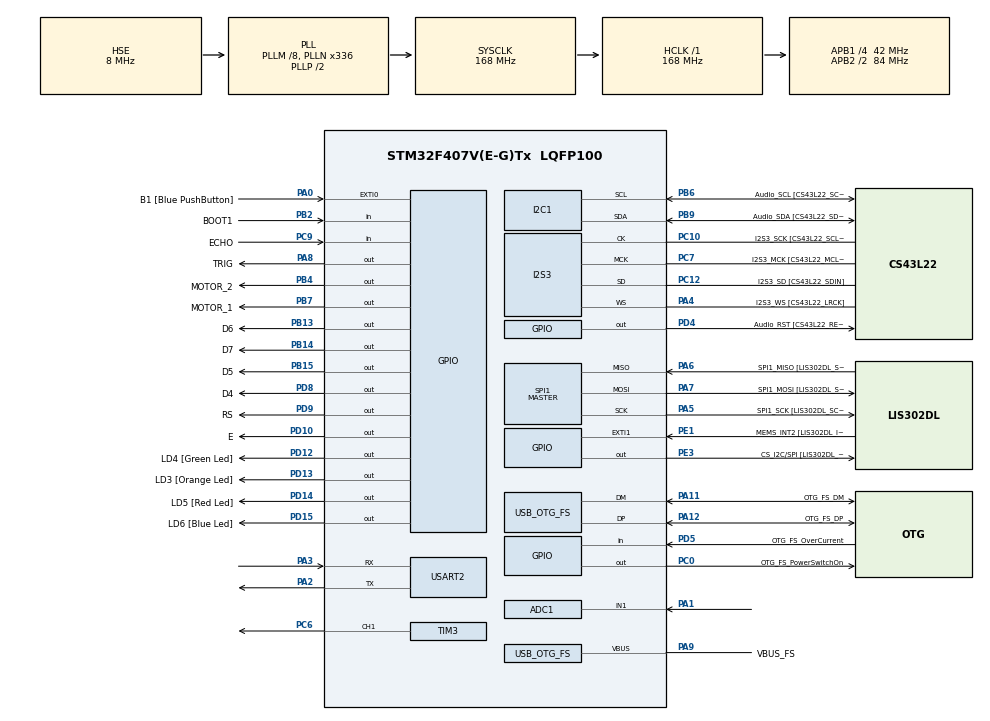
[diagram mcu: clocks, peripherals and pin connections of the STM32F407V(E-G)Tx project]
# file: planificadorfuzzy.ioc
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ADC1.Channel-0\#ChannelRegularConversion=ADC_CHANNEL_1
ADC1.ContinuousConvMode=ENABLE
ADC1.NbrOfConversionFlag=1
ADC1.Rank-0\#ChannelRegularConversion=1
ADC1.SamplingTime-0\#ChannelRegularConversion=ADC_SAMPLETIME_3CYCLES
ADC1.master=1
I2S3.AudioFreq-Half_Duplex_Master=I2S_AUDIOFREQ_96K
I2S3.ErrorAudioFreq=-2.34 %
I2S3.ErrorAudioFreq-Half_Duplex_Master=0.8 %
I2S3.FullDuplexMode=I2S_FULLDUPLEXMODE_DISABLE
I2S3.Instance=SPI$Index
I2S3.RealAudioFreq=93.75 KHz
I2S3.RealAudioFreq-Half_Duplex_Master=96.774 KHz
I2S3.VirtualMode=I2S_MODE_MASTER
Mcu.Family=STM32F4
Mcu.Name=STM32F407V(E-G)Tx
Mcu.Package=LQFP100
NVIC.OTG_FS_IRQn=true\:0\:0\:false\:false\:true\:true\:true\:true
NVIC.PriorityGroup=NVIC_PRIORITYGROUP_0
NVIC.TIM3_IRQn=true\:0\:0\:false\:false\:true\:true\:true\:true
PA0-WKUP.GPIO_Label=B1 [Blue PushButton]
PA0-WKUP.GPIO_ModeDefaultEXTI=GPIO_MODE_EVT_RISING
PA0-WKUP.GPIO_PuPd=GPIO_NOPULL
PA0-WKUP.Signal=GPXTI0
PA1.Signal=ADCx_IN1
PA10.GPIO_Label=OTG_FS_ID
PA10.GPIO_Mode=GPIO_MODE_AF_PP
PA10.GPIO_PuPd=GPIO_NOPULL
PA10.GPIO_Speed=GPIO_SPEED_FREQ_LOW
PA10.Signal=USB_OTG_FS_ID
PA11.GPIO_Label=OTG_FS_DM
PA11.GPIO_Mode=GPIO_MODE_AF_PP
PA11.GPIO_PuPd=GPIO_NOPULL
PA11.GPIO_Speed=GPIO_SPEED_FREQ_LOW
PA11.Mode=Host_Only
PA11.Signal=USB_OTG_FS_DM
PA12.GPIO_Label=OTG_FS_DP
PA12.GPIO_Mode=GPIO_MODE_AF_PP
PA12.GPIO_PuPd=GPIO_NOPULL
PA12.GPIO_Speed=GPIO_SPEED_FREQ_LOW
PA12.Mode=Host_Only
PA12.Signal=USB_OTG_FS_DP
PA13.GPIO_Label=SWDIO
PA13.Mode=Serial_Wire
PA13.Signal=SYS_JTMS-SWDIO
PA14.GPIO_Label=SWCLK
PA14.Mode=Serial_Wire
PA14.Signal=SYS_JTCK-SWCLK
PA2.Mode=Asynchronous
PA2.Signal=USART2_TX
PA3.Mode=Asynchronous
PA3.Signal=USART2_RX
PA4.GPIO_Label=I2S3_WS [CS43L22_LRCK]
PA4.GPIO_Mode=GPIO_MODE_AF_PP
PA4.GPIO_PuPd=GPIO_NOPULL
PA4.GPIO_Speed=GPIO_SPEED_FREQ_LOW
PA4.Mode=Half_Duplex_Master
PA4.Signal=I2S3_WS
PA5.GPIO_Label=SPI1_SCK [LIS302DL_SCL/SPC]
PA5.GPIO_Mode=GPIO_MODE_AF_PP
PA5.GPIO_PuPd=GPIO_NOPULL
PA5.GPIO_Speed=GPIO_SPEED_FREQ_LOW
PA5.Mode=Full_Duplex_Master
PA5.Signal=SPI1_SCK
PA6.GPIO_Label=SPI1_MISO [LIS302DL_SDO]
PA6.GPIO_Mode=GPIO_MODE_AF_PP
PA6.GPIO_PuPd=GPIO_NOPULL
PA6.GPIO_Speed=GPIO_SPEED_FREQ_LOW
PA6.Mode=Full_Duplex_Master
PA6.Signal=SPI1_MISO
PA7.GPIO_Label=SPI1_MOSI [LIS302DL_SDA/SDI/SDO]
PA7.GPIO_Mode=GPIO_MODE_AF_PP
PA7.GPIO_PuPd=GPIO_NOPULL
PA7.GPIO_Speed=GPIO_SPEED_FREQ_LOW
PA7.Mode=Full_Duplex_Master
PA7.Signal=SPI1_MOSI
PA8.GPIO_Label=TRIG
PA8.Signal=GPIO_Output
PA9.GPIO_Label=VBUS_FS
PA9.GPIO_Mode=GPIO_MODE_INPUT
PA9.GPIO_PuPd=GPIO_NOPULL
PA9.Mode=Activate_VBUS
PA9.Signal=USB_OTG_FS_VBUS
PB10.GPIO_Label=CLK_IN [MP45DT02_CLK]
PB10.GPIO_Mode=GPIO_MODE_AF_PP
PB10.GPIO_PuPd=GPIO_NOPULL
PB10.GPIO_Speed=GPIO_SPEED_FREQ_LOW
PB10.Signal=I2S2_CK
PB13.GPIO_Label=D6
PB13.Signal=GPIO_Output
PB14.GPIO_Label=D7
PB14.Signal=GPIO_Output
PB15.GPIO_Label=D5
PB15.Signal=GPIO_Output
PB2.GPIO_Label=BOOT1
PB2.GPIO_Mode=GPIO_MODE_INPUT
PB2.GPIO_PuPd=GPIO_NOPULL
PB2.Signal=GPIO_Input
PB3.GPIO_Label=SWO
PB3.Signal=SYS_JTDO-SWO
PB4.GPIO_Label=MOTOR_2
PB4.Signal=GPIO_Output
PB6.GPIO_Label=Audio_SCL [CS43L22_SCL]
PB6.GPIO_Mode=GPIO_MODE_AF_OD
PB6.GPIO_Pu=GPIO_PULLUP
PB6.GPIO_PuPd=GPIO_NOPULL
PB6.GPIO_Speed=GPIO_SPEED_FREQ_LOW
PB6.Mode=I2C
PB6.Signal=I2C1_SCL
PB7.GPIO_Label=MOTOR_1
PB7.Signal=GPIO_Output
PB9.GPIO_Label=Audio_SDA [CS43L22_SDA]
PB9.GPIO_Mode=GPIO_MODE_AF_OD
PB9.GPIO_Pu=GPIO_PULLUP
PB9.GPIO_PuPd=GPIO_NOPULL
PB9.GPIO_Speed=GPIO_SPEED_FREQ_LOW
PB9.Mode=I2C
PB9.Signal=I2C1_SDA
PC0.GPIO_Label=OTG_FS_PowerSwitchOn
PC0.GPIO_PuPd=GPIO_NOPULL
PC0.GPIO_Speed=GPIO_SPEED_FREQ_LOW
PC0.PinState=GPIO_PIN_SET
PC0.Signal=GPIO_Output
PC10.GPIO_Label=I2S3_SCK [CS43L22_SCLK]
PC10.GPIO_Mode=GPIO_MODE_AF_PP
PC10.GPIO_PuPd=GPIO_NOPULL
PC10.GPIO_Speed=GPIO_SPEED_FREQ_LOW
PC10.Mode=Half_Duplex_Master
PC10.Signal=I2S3_CK
PC12.GPIO_Label=I2S3_SD [CS43L22_SDIN]
PC12.GPIO_Mode=GPIO_MODE_AF_PP
PC12.GPIO_PuPd=GPIO_NOPULL
PC12.GPIO_Speed=GPIO_SPEED_FREQ_LOW
PC12.Mode=Half_Duplex_Master
PC12.Signal=I2S3_SD
PC14-OSC32_IN.GPIO_Label=PC14-OSC32_IN
PC14-OSC32_IN.Mode=LSE-External-Oscillator
PC14-OSC32_IN.Signal=RCC_OSC32_IN
PC15-OSC32_OUT.GPIO_Label=PC15-OSC32_OUT
PC15-OSC32_OUT.Mode=LSE-External-Oscillator
PC15-OSC32_OUT.Signal=RCC_OSC32_OUT
PC3.GPIO_Label=PDM_OUT [MP45DT02_DOUT]
PC3.GPIO_Mode=GPIO_MODE_AF_PP
PC3.GPIO_PuPd=GPIO_NOPULL
PC3.GPIO_Speed=GPIO_SPEED_FREQ_LOW
PC3.Signal=I2S2_SD
PC6.Signal=S_TIM3_CH1
PC7.GPIO_Label=I2S3_MCK [CS43L22_MCLK]
PC7.GPIO_Mode=GPIO_MODE_AF_PP
PC7.GPIO_PuPd=GPIO_NOPULL
PC7.GPIO_Speed=GPIO_SPEED_FREQ_LOW
PC7.Mode=Master_Clock_Activated
PC7.Signal=I2S3_MCK
PC9.GPIO_Label=ECHO
PC9.Signal=GPIO_Input
PD10.GPIO_Label=E
PD10.Signal=GPIO_Output
PD12.GPIO_Label=LD4 [Green Led]
PD12.GPIO_PuPd=GPIO_NOPULL
PD12.GPIO_Speed=GPIO_SPEED_FREQ_LOW
PD12.Signal=GPIO_Output
PD13.GPIO_Label=LD3 [Orange Led]
PD13.GPIO_PuPd=GPIO_NOPULL
PD13.GPIO_Speed=GPIO_SPEED_FREQ_LOW
PD13.Signal=GPIO_Output
PD14.GPIO_Label=LD5 [Red Led]
PD14.GPIO_PuPd=GPIO_NOPULL
PD14.GPIO_Speed=GPIO_SPEED_FREQ_LOW
PD14.Signal=GPIO_Output
PD15.GPIO_Label=LD6 [Blue Led]
PD15.GPIO_PuPd=GPIO_NOPULL
PD15.GPIO_Speed=GPIO_SPEED_FREQ_LOW
PD15.Signal=GPIO_Output
PD4.GPIO_Label=Audio_RST [CS43L22_RESET]
PD4.GPIO_PuPd=GPIO_NOPULL
PD4.GPIO_Speed=GPIO_SPEED_FREQ_LOW
PD4.Signal=GPIO_Output
PD5.GPIO_Label=OTG_FS_OverCurrent
PD5.GPIO_Mode=GPIO_MODE_INPUT
PD5.GPIO_PuPd=GPIO_NOPULL
PD5.Signal=GPIO_Input
PD8.GPIO_Label=D4
PD8.Signal=GPIO_Output
PD9.GPIO_Label=RS
PD9.Signal=GPIO_Output
PE1.GPIO_Label=MEMS_INT2 [LIS302DL_INT2]
PE1.GPIO_ModeDefaultEXTI=GPIO_MODE_EVT_RISING
PE1.GPIO_PuPd=GPIO_NOPULL
PE1.Signal=GPXTI1
PE3.GPIO_Label=CS_I2C/SPI [LIS302DL_CS_I2C/SPI]
PE3.GPIO_PuPd=GPIO_NOPULL
PE3.GPIO_Speed=GPIO_SPEED_FREQ_LOW
PE3.Signal=GPIO_Output
PH0-OSC_IN.GPIO_Label=PH0-OSC_IN
PH0-OSC_IN.Mode=HSE-External-Oscillator
PH0-OSC_IN.Signal=RCC_OSC_IN
PH1-OSC_OUT.GPIO_Label=PH1-OSC_OUT
PH1-OSC_OUT.Mode=HSE-External-Oscillator
PH1-OSC_OUT.Signal=RCC_OSC_OUT
ProjectManager.HeapSize=0x200
ProjectManager.StackSize=0x400
ProjectManager.TargetToolchain=STM32CubeIDE
RCC.48MHZClocksFreq_Value=48000000
RCC.AHBFreq_Value=168000000
RCC.APB1CLKDivider=RCC_HCLK_DIV4
RCC.APB1Freq_Value=42000000
RCC.APB1TimFreq_Value=84000000
RCC.APB2CLKDivider=RCC_HCLK_DIV2
RCC.APB2Freq_Value=84000000
RCC.APB2TimFreq_Value=168000000
RCC.CortexFreq_Value=168000000
RCC.HCLKFreq_Value=168000000
RCC.HSE_VALUE=8000000
RCC.HSI_VALUE=16000000
RCC.PLLM=8
RCC.PLLN=336
RCC.PLLQ=7
RCC.SYSCLKFreq_VALUE=168000000
RCC.SYSCLKSource=RCC_SYSCLKSOURCE_PLLCLK
RCC.VCOOutputFreq_Value=336000000
SH.ADCx_IN1.0=ADC1_IN1,IN1
SH.S_TIM3_CH1.0=TIM3_CH1,PWM Generation1 CH1
SPI1.BaudRatePrescaler-Full_Duplex_Master=SPI_BAUDRATEPRESCALER_2
SPI1.CalculateBaudRate-Full_Duplex_Master=42.0 MBits/s
SPI1.Direction=SPI_DIRECTION_2LINES
SPI1.Mode=SPI_MODE_MASTER
SPI1.Mode-Full_Duplex_Master=SPI_MODE_MASTER
SPI1.VirtualType=VM_MASTER
TIM1.Prescaler=1-1
TIM3.Channel-PWM\ Generation1\ CH1=TIM_CHANNEL_1
TIM3.Period=1000-1
TIM3.Prescaler=84-1
USART2.VirtualMode=VM_ASYNC
USB_HOST.BSP.number=1
USB_HOST.USBH_HandleTypeDef-CDC_FS=hUsbHostFS
USB_HOST.VirtualModeFS=Cdc
USB_HOST0.BSP.STBoard=false
USB_HOST0.BSP.api=Unknown
USB_HOST0.BSP.instance=PC0
USB_HOST0.BSP.ip=GPIO
USB_HOST0.BSP.mode=Output
USB_HOST0.BSP.name=Drive_VBUS_FS
USB_HOST0.BSP.solution=PC0
USB_OTG_FS.VirtualMode=Host_Only
USB_OTG_FS.phy_itface=HCD_PHY_EMBEDDED
VP_TIM1_VS_ClockSourceINT.Mode=Internal
VP_TIM3_VS_ClockSourceINT.Mode=Internal
VP_USB_HOST_VS_USB_HOST_CDC_FS.Mode=CDC_FS
board=STM32F407G-DISC1

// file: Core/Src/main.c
/* USER CODE BEGIN Header */
/**
  ******************************************************************************
  * @file           : main.c
  * @brief          : Main program body
  ******************************************************************************
  * @attention
  *
  * Copyright (c) 2023 STMicroelectronics.
  * All rights reserved.
  *
  * This software is licensed under terms that can be found in the LICENSE file
  * in the root directory of this software component.
  * If no LICENSE file comes with this software, it is provided AS-IS.
  *
  ******************************************************************************
  */
/* USER CODE END Header */
#include "main.h"
#include "usb_host.h"

/* USER CODE BEGIN Includes */
#include <stdio.h>
#include <string.h>
#include "scheduler.h"
#include "fuzzy_logic.h"
/* USER CODE END Includes */

/* USER CODE BEGIN PD */
extern FIS_TYPE g_fisInput[2];
extern FIS_TYPE g_fisOutput[1];
/* USER CODE END PD */

ADC_HandleTypeDef hadc1;

I2C_HandleTypeDef hi2c1;

I2S_HandleTypeDef hi2s3;

SPI_HandleTypeDef hspi1;

TIM_HandleTypeDef htim1;
TIM_HandleTypeDef htim3;

UART_HandleTypeDef huart2;

void SystemClock_Config(void);
static void MX_GPIO_Init(void);
static void MX_I2C1_Init(void);
static void MX_I2S3_Init(void);
static void MX_SPI1_Init(void);
static void MX_USART2_UART_Init(void);
static void MX_ADC1_Init(void);
static void MX_TIM1_Init(void);
static void MX_TIM3_Init(void);
void MX_USB_HOST_Process(void);

/* USER CODE BEGIN PFP */
void imprimirSerial(uint32_t impresion1,uint32_t impresion, uint32_t impresion2 );

uint16_t ReadHumedad(void);
void ReadDistancia(void);
void Serial(void);
void sensHumedad(void);
void evaluar(void);
void Error(void);
void fis_evaluate(void);

/* USER CODE END PFP */

/* USER CODE BEGIN 0 */
UART_HandleTypeDef huart2; //UART_2 handle variable
uint16_t humedad =0;

char val[10];

void delay (uint16_t delay)// RECUERDA QUE CADA 1 ES 10 NANOSEGUNDOS
{							// SI QUIERES 1 us se necesita 100
	delay=delay*100; // ahora es un delay de micro segundos
	__HAL_TIM_SET_COUNTER(&htim1,0);
	while (__HAL_TIM_GET_COUNTER(&htim1) < delay);

}

uint32_t local_time, sensor_time;
uint32_t distance;

uint32_t hcsr04_read (void) // PARA LEER SE HACE LO QUE MENCIONA LA HOJA DE DATOS DEL HC-SR04
{
	local_time=0;
	HAL_GPIO_WritePin(GPIOA, TRIG_Pin, GPIO_PIN_RESET);  // PRIMERO SE PONE EN CERO AL TRIG
	delay(2);  // SE ESPERA 2 uS

	HAL_GPIO_WritePin(GPIOA, TRIG_Pin, GPIO_PIN_SET);  // SE PONE EN UNO AL TRIG
	delay(10);  // SE ESPERA 10 uS
	HAL_GPIO_WritePin(GPIOA, TRIG_Pin, GPIO_PIN_RESET);  // SE PONE EN CERO AL TRIG

	// SE LEE EL TIEMPO POR EL CUAL EL PIN ES ALTO

	while (!(HAL_GPIO_ReadPin(GPIOC, ECHO_Pin)));  // SE ESPERA QUE ECHO LEA
	while (HAL_GPIO_ReadPin(GPIOC, ECHO_Pin))    // MIENTRAS ECHO ES UNO
	 {
		local_time++;   // MEDIDA DEL TIEMPO DURANTE FUE UNO EL ECHO
		delay (1);
	 }
	return local_time;
}
/* USER CODE END 0 */

int main(void)
{

  /* MCU Configuration--------------------------------------------------------*/

  /* Reset of all peripherals, Initializes the Flash interface and the Systick. */
  HAL_Init();

  /* Configure the system clock */
  SystemClock_Config();

  /* Initialize all configured peripherals */
  MX_GPIO_Init();
  MX_I2C1_Init();
  MX_I2S3_Init();
  MX_SPI1_Init();
  MX_USB_HOST_Init();
  MX_USART2_UART_Init();
  MX_ADC1_Init();
  MX_TIM1_Init();
  MX_TIM3_Init();
  /* USER CODE BEGIN 2 */
  // Agregar tareas al planificador
  	Scheduler_AddTask(sensHumedad, 3000);  // Leer humedad cada 100 ms
  	Scheduler_AddTask(ReadDistancia, 3000);       // Leer distancia cada 500 ms
  	Scheduler_AddTask(evaluar, 4000);     // Acciona de acuerdo a la logica difusa 1000 ms
  	Scheduler_AddTask(Serial, 5000);
  	Scheduler_AddTask(Error, 6000);   // alerta para manejo de fallo

  HAL_TIM_Base_Start(&htim1);
  HAL_ADC_Start(&hadc1);
  HAL_TIM_PWM_Start(&htim3, TIM_CHANNEL_1);

  /* USER CODE END 2 */

  /* Infinite loop */
  /* USER CODE BEGIN WHILE */
  while (1)
  {
	  Scheduler_Run();

	     // Esperar un tiempo antes de la próxima lectura
	     HAL_Delay(1000);
    /* USER CODE END WHILE */
    MX_USB_HOST_Process();

  }
}

void SystemClock_Config(void)
{
  RCC_OscInitTypeDef RCC_OscInitStruct = {0};
  RCC_ClkInitTypeDef RCC_ClkInitStruct = {0};

  /** Configure the main internal regulator output voltage
  */
  __HAL_RCC_PWR_CLK_ENABLE();
  __HAL_PWR_VOLTAGESCALING_CONFIG(PWR_REGULATOR_VOLTAGE_SCALE1);

  /** Initializes the RCC Oscillators according to the specified parameters
  * in the RCC_OscInitTypeDef structure.
  */
  RCC_OscInitStruct.OscillatorType = RCC_OSCILLATORTYPE_HSE;
  RCC_OscInitStruct.HSEState = RCC_HSE_ON;
  RCC_OscInitStruct.PLL.PLLState = RCC_PLL_ON;
  RCC_OscInitStruct.PLL.PLLSource = RCC_PLLSOURCE_HSE;
  RCC_OscInitStruct.PLL.PLLM = 8;
  RCC_OscInitStruct.PLL.PLLN = 336;
  RCC_OscInitStruct.PLL.PLLP = RCC_PLLP_DIV2;
  RCC_OscInitStruct.PLL.PLLQ = 7;
  if (HAL_RCC_OscConfig(&RCC_OscInitStruct) != HAL_OK)
  {
    Error_Handler();
  }

  /** Initializes the CPU, AHB and APB buses clocks
  */
  RCC_ClkInitStruct.ClockType = RCC_CLOCKTYPE_HCLK|RCC_CLOCKTYPE_SYSCLK
                              |RCC_CLOCKTYPE_PCLK1|RCC_CLOCKTYPE_PCLK2;
  RCC_ClkInitStruct.SYSCLKSource = RCC_SYSCLKSOURCE_PLLCLK;
  RCC_ClkInitStruct.AHBCLKDivider = RCC_SYSCLK_DIV1;
  RCC_ClkInitStruct.APB1CLKDivider = RCC_HCLK_DIV4;
  RCC_ClkInitStruct.APB2CLKDivider = RCC_HCLK_DIV2;

  if (HAL_RCC_ClockConfig(&RCC_ClkInitStruct, FLASH_LATENCY_5) != HAL_OK)
  {
    Error_Handler();
  }
}

static void MX_ADC1_Init(void)
{

  ADC_ChannelConfTypeDef sConfig = {0};

  /** Configure the global features of the ADC (Clock, Resolution, Data Alignment and number of conversion)
  */
  hadc1.Instance = ADC1;
  hadc1.Init.ClockPrescaler = ADC_CLOCK_SYNC_PCLK_DIV4;
  hadc1.Init.Resolution = ADC_RESOLUTION_12B;
  hadc1.Init.ScanConvMode = DISABLE;
  hadc1.Init.ContinuousConvMode = ENABLE;
  hadc1.Init.DiscontinuousConvMode = DISABLE;
  hadc1.Init.ExternalTrigConvEdge = ADC_EXTERNALTRIGCONVEDGE_NONE;
  hadc1.Init.ExternalTrigConv = ADC_SOFTWARE_START;
  hadc1.Init.DataAlign = ADC_DATAALIGN_RIGHT;
  hadc1.Init.NbrOfConversion = 1;
  hadc1.Init.DMAContinuousRequests = DISABLE;
  hadc1.Init.EOCSelection = ADC_EOC_SINGLE_CONV;
  if (HAL_ADC_Init(&hadc1) != HAL_OK)
  {
    Error_Handler();
  }

  /** Configure for the selected ADC regular channel its corresponding rank in the sequencer and its sample time.
  */
  sConfig.Channel = ADC_CHANNEL_1;
  sConfig.Rank = 1;
  sConfig.SamplingTime = ADC_SAMPLETIME_3CYCLES;
  if (HAL_ADC_ConfigChannel(&hadc1, &sConfig) != HAL_OK)
  {
    Error_Handler();
  }

}

static void MX_I2C1_Init(void)
{

  hi2c1.Instance = I2C1;
  hi2c1.Init.ClockSpeed = 100000;
  hi2c1.Init.DutyCycle = I2C_DUTYCYCLE_2;
  hi2c1.Init.OwnAddress1 = 0;
  hi2c1.Init.AddressingMode = I2C_ADDRESSINGMODE_7BIT;
  hi2c1.Init.DualAddressMode = I2C_DUALADDRESS_DISABLE;
  hi2c1.Init.OwnAddress2 = 0;
  hi2c1.Init.GeneralCallMode = I2C_GENERALCALL_DISABLE;
  hi2c1.Init.NoStretchMode = I2C_NOSTRETCH_DISABLE;
  if (HAL_I2C_Init(&hi2c1) != HAL_OK)
  {
    Error_Handler();
  }

}

static void MX_I2S3_Init(void)
{

  hi2s3.Instance = SPI3;
  hi2s3.Init.Mode = I2S_MODE_MASTER_TX;
  hi2s3.Init.Standard = I2S_STANDARD_PHILIPS;
  hi2s3.Init.DataFormat = I2S_DATAFORMAT_16B;
  hi2s3.Init.MCLKOutput = I2S_MCLKOUTPUT_ENABLE;
  hi2s3.Init.AudioFreq = I2S_AUDIOFREQ_96K;
  hi2s3.Init.CPOL = I2S_CPOL_LOW;
  hi2s3.Init.ClockSource = I2S_CLOCK_PLL;
  hi2s3.Init.FullDuplexMode = I2S_FULLDUPLEXMODE_DISABLE;
  if (HAL_I2S_Init(&hi2s3) != HAL_OK)
  {
    Error_Handler();
  }

}

static void MX_SPI1_Init(void)
{

  /* SPI1 parameter configuration*/
  hspi1.Instance = SPI1;
  hspi1.Init.Mode = SPI_MODE_MASTER;
  hspi1.Init.Direction = SPI_DIRECTION_2LINES;
  hspi1.Init.DataSize = SPI_DATASIZE_8BIT;
  hspi1.Init.CLKPolarity = SPI_POLARITY_LOW;
  hspi1.Init.CLKPhase = SPI_PHASE_1EDGE;
  hspi1.Init.NSS = SPI_NSS_SOFT;
  hspi1.Init.BaudRatePrescaler = SPI_BAUDRATEPRESCALER_2;
  hspi1.Init.FirstBit = SPI_FIRSTBIT_MSB;
  hspi1.Init.TIMode = SPI_TIMODE_DISABLE;
  hspi1.Init.CRCCalculation = SPI_CRCCALCULATION_DISABLE;
  hspi1.Init.CRCPolynomial = 10;
  if (HAL_SPI_Init(&hspi1) != HAL_OK)
  {
    Error_Handler();
  }

}

static void MX_TIM1_Init(void)
{

  TIM_ClockConfigTypeDef sClockSourceConfig = {0};
  TIM_MasterConfigTypeDef sMasterConfig = {0};

  htim1.Instance = TIM1;
  htim1.Init.Prescaler = 1-1;
  htim1.Init.CounterMode = TIM_COUNTERMODE_UP;
  htim1.Init.Period = 65535;
  htim1.Init.ClockDivision = TIM_CLOCKDIVISION_DIV1;
  htim1.Init.RepetitionCounter = 0;
  htim1.Init.AutoReloadPreload = TIM_AUTORELOAD_PRELOAD_DISABLE;
  if (HAL_TIM_Base_Init(&htim1) != HAL_OK)
  {
    Error_Handler();
  }
  sClockSourceConfig.ClockSource = TIM_CLOCKSOURCE_INTERNAL;
  if (HAL_TIM_ConfigClockSource(&htim1, &sClockSourceConfig) != HAL_OK)
  {
    Error_Handler();
  }
  sMasterConfig.MasterOutputTrigger = TIM_TRGO_RESET;
  sMasterConfig.MasterSlaveMode = TIM_MASTERSLAVEMODE_DISABLE;
  if (HAL_TIMEx_MasterConfigSynchronization(&htim1, &sMasterConfig) != HAL_OK)
  {
    Error_Handler();
  }

}

static void MX_TIM3_Init(void)
{

  TIM_ClockConfigTypeDef sClockSourceConfig = {0};
  TIM_MasterConfigTypeDef sMasterConfig = {0};
  TIM_OC_InitTypeDef sConfigOC = {0};

  htim3.Instance = TIM3;
  htim3.Init.Prescaler = 84-1;
  htim3.Init.CounterMode = TIM_COUNTERMODE_UP;
  htim3.Init.Period = 1000-1;
  htim3.Init.ClockDivision = TIM_CLOCKDIVISION_DIV1;
  htim3.Init.AutoReloadPreload = TIM_AUTORELOAD_PRELOAD_DISABLE;
  if (HAL_TIM_Base_Init(&htim3) != HAL_OK)
  {
    Error_Handler();
  }
  sClockSourceConfig.ClockSource = TIM_CLOCKSOURCE_INTERNAL;
  if (HAL_TIM_ConfigClockSource(&htim3, &sClockSourceConfig) != HAL_OK)
  {
    Error_Handler();
  }
  if (HAL_TIM_PWM_Init(&htim3) != HAL_OK)
  {
    Error_Handler();
  }
  sMasterConfig.MasterOutputTrigger = TIM_TRGO_RESET;
  sMasterConfig.MasterSlaveMode = TIM_MASTERSLAVEMODE_DISABLE;
  if (HAL_TIMEx_MasterConfigSynchronization(&htim3, &sMasterConfig) != HAL_OK)
  {
    Error_Handler();
  }
  sConfigOC.OCMode = TIM_OCMODE_PWM1;
  sConfigOC.Pulse = 0;
  sConfigOC.OCPolarity = TIM_OCPOLARITY_HIGH;
  sConfigOC.OCFastMode = TIM_OCFAST_DISABLE;
  if (HAL_TIM_PWM_ConfigChannel(&htim3, &sConfigOC, TIM_CHANNEL_1) != HAL_OK)
  {
    Error_Handler();
  }
  HAL_TIM_MspPostInit(&htim3);

}

static void MX_USART2_UART_Init(void)
{

  huart2.Instance = USART2;
  huart2.Init.BaudRate = 115200;
  huart2.Init.WordLength = UART_WORDLENGTH_8B;
  huart2.Init.StopBits = UART_STOPBITS_1;
  huart2.Init.Parity = UART_PARITY_NONE;
  huart2.Init.Mode = UART_MODE_TX_RX;
  huart2.Init.HwFlowCtl = UART_HWCONTROL_NONE;
  huart2.Init.OverSampling = UART_OVERSAMPLING_16;
  if (HAL_UART_Init(&huart2) != HAL_OK)
  {
    Error_Handler();
  }

}

static void MX_GPIO_Init(void)
{
  GPIO_InitTypeDef GPIO_InitStruct = {0};

  /* GPIO Ports Clock Enable */
  __HAL_RCC_GPIOE_CLK_ENABLE();
  __HAL_RCC_GPIOC_CLK_ENABLE();
  __HAL_RCC_GPIOH_CLK_ENABLE();
  __HAL_RCC_GPIOA_CLK_ENABLE();
  __HAL_RCC_GPIOB_CLK_ENABLE();
  __HAL_RCC_GPIOD_CLK_ENABLE();

  /*Configure GPIO pin Output Level */
  HAL_GPIO_WritePin(CS_I2C_SPI_GPIO_Port, CS_I2C_SPI_Pin, GPIO_PIN_RESET);

  /*Configure GPIO pin Output Level */
  HAL_GPIO_WritePin(OTG_FS_PowerSwitchOn_GPIO_Port, OTG_FS_PowerSwitchOn_Pin, GPIO_PIN_SET);

  /*Configure GPIO pin Output Level */
  HAL_GPIO_WritePin(GPIOB, D6_Pin|D7_Pin|D5_Pin|MOTOR_2_Pin
                          |MOTOR_1_Pin, GPIO_PIN_RESET);

  /*Configure GPIO pin Output Level */
  HAL_GPIO_WritePin(GPIOD, D4_Pin|RS_Pin|E_Pin|LD4_Pin
                          |LD3_Pin|LD5_Pin|LD6_Pin|Audio_RST_Pin, GPIO_PIN_RESET);

  /*Configure GPIO pin Output Level */
  HAL_GPIO_WritePin(TRIG_GPIO_Port, TRIG_Pin, GPIO_PIN_RESET);

  /*Configure GPIO pin : CS_I2C_SPI_Pin */
  GPIO_InitStruct.Pin = CS_I2C_SPI_Pin;
  GPIO_InitStruct.Mode = GPIO_MODE_OUTPUT_PP;
  GPIO_InitStruct.Pull = GPIO_NOPULL;
  GPIO_InitStruct.Speed = GPIO_SPEED_FREQ_LOW;
  HAL_GPIO_Init(CS_I2C_SPI_GPIO_Port, &GPIO_InitStruct);

  /*Configure GPIO pin : OTG_FS_PowerSwitchOn_Pin */
  GPIO_InitStruct.Pin = OTG_FS_PowerSwitchOn_Pin;
  GPIO_InitStruct.Mode = GPIO_MODE_OUTPUT_PP;
  GPIO_InitStruct.Pull = GPIO_NOPULL;
  GPIO_InitStruct.Speed = GPIO_SPEED_FREQ_LOW;
  HAL_GPIO_Init(OTG_FS_PowerSwitchOn_GPIO_Port, &GPIO_InitStruct);

  /*Configure GPIO pin : PDM_OUT_Pin */
  GPIO_InitStruct.Pin = PDM_OUT_Pin;
  GPIO_InitStruct.Mode = GPIO_MODE_AF_PP;
  GPIO_InitStruct.Pull = GPIO_NOPULL;
  GPIO_InitStruct.Speed = GPIO_SPEED_FREQ_LOW;
  GPIO_InitStruct.Alternate = GPIO_AF5_SPI2;
  HAL_GPIO_Init(PDM_OUT_GPIO_Port, &GPIO_InitStruct);

  /*Configure GPIO pin : B1_Pin */
  GPIO_InitStruct.Pin = B1_Pin;
  GPIO_InitStruct.Mode = GPIO_MODE_EVT_RISING;
  GPIO_InitStruct.Pull = GPIO_NOPULL;
  HAL_GPIO_Init(B1_GPIO_Port, &GPIO_InitStruct);

  /*Configure GPIO pin : BOOT1_Pin */
  GPIO_InitStruct.Pin = BOOT1_Pin;
  GPIO_InitStruct.Mode = GPIO_MODE_INPUT;
  GPIO_InitStruct.Pull = GPIO_NOPULL;
  HAL_GPIO_Init(BOOT1_GPIO_Port, &GPIO_InitStruct);

  /*Configure GPIO pin : CLK_IN_Pin */
  GPIO_InitStruct.Pin = CLK_IN_Pin;
  GPIO_InitStruct.Mode = GPIO_MODE_AF_PP;
  GPIO_InitStruct.Pull = GPIO_NOPULL;
  GPIO_InitStruct.Speed = GPIO_SPEED_FREQ_LOW;
  GPIO_InitStruct.Alternate = GPIO_AF5_SPI2;
  HAL_GPIO_Init(CLK_IN_GPIO_Port, &GPIO_InitStruct);

  /*Configure GPIO pins : D6_Pin D7_Pin D5_Pin MOTOR_2_Pin
                           MOTOR_1_Pin */
  GPIO_InitStruct.Pin = D6_Pin|D7_Pin|D5_Pin|MOTOR_2_Pin
                          |MOTOR_1_Pin;
  GPIO_InitStruct.Mode = GPIO_MODE_OUTPUT_PP;
  GPIO_InitStruct.Pull = GPIO_NOPULL;
  GPIO_InitStruct.Speed = GPIO_SPEED_FREQ_LOW;
  HAL_GPIO_Init(GPIOB, &GPIO_InitStruct);

  /*Configure GPIO pins : D4_Pin RS_Pin E_Pin LD4_Pin
                           LD3_Pin LD5_Pin LD6_Pin Audio_RST_Pin */
  GPIO_InitStruct.Pin = D4_Pin|RS_Pin|E_Pin|LD4_Pin
                          |LD3_Pin|LD5_Pin|LD6_Pin|Audio_RST_Pin;
  GPIO_InitStruct.Mode = GPIO_MODE_OUTPUT_PP;
  GPIO_InitStruct.Pull = GPIO_NOPULL;
  GPIO_InitStruct.Speed = GPIO_SPEED_FREQ_LOW;
  HAL_GPIO_Init(GPIOD, &GPIO_InitStruct);

  /*Configure GPIO pin : ECHO_Pin */
  GPIO_InitStruct.Pin = ECHO_Pin;
  GPIO_InitStruct.Mode = GPIO_MODE_INPUT;
  GPIO_InitStruct.Pull = GPIO_NOPULL;
  HAL_GPIO_Init(ECHO_GPIO_Port, &GPIO_InitStruct);

  /*Configure GPIO pin : TRIG_Pin */
  GPIO_InitStruct.Pin = TRIG_Pin;
  GPIO_InitStruct.Mode = GPIO_MODE_OUTPUT_PP;
  GPIO_InitStruct.Pull = GPIO_NOPULL;
  GPIO_InitStruct.Speed = GPIO_SPEED_FREQ_LOW;
  HAL_GPIO_Init(TRIG_GPIO_Port, &GPIO_InitStruct);

  /*Configure GPIO pin : OTG_FS_OverCurrent_Pin */
  GPIO_InitStruct.Pin = OTG_FS_OverCurrent_Pin;
  GPIO_InitStruct.Mode = GPIO_MODE_INPUT;
  GPIO_InitStruct.Pull = GPIO_NOPULL;
  HAL_GPIO_Init(OTG_FS_OverCurrent_GPIO_Port, &GPIO_InitStruct);

  /*Configure GPIO pin : MEMS_INT2_Pin */
  GPIO_InitStruct.Pin = MEMS_INT2_Pin;
  GPIO_InitStruct.Mode = GPIO_MODE_EVT_RISING;
  GPIO_InitStruct.Pull = GPIO_NOPULL;
  HAL_GPIO_Init(MEMS_INT2_GPIO_Port, &GPIO_InitStruct);

}

/* USER CODE BEGIN 4 */
uint16_t ReadHumedad(void){
	uint16_t adcIn =0;
	// Detener el ADC antes de leer el valor actual
		     HAL_ADC_Stop(&hadc1);

		     // Leer el valor actual del ADC
		     adcIn = HAL_ADC_GetValue(&hadc1);

		     // Reiniciar el ADC para iniciar una nueva conversión
		     HAL_ADC_Start(&hadc1);
		     return(adcIn);
}

void sensHumedad(void){

	humedad =ReadHumedad();
}

void ReadDistancia(void){
	 sensor_time = hcsr04_read();
	 distance = sensor_time * 0.034 / 2;
}

void evaluar(void){
	// Read Input: humedad
	        g_fisInput[0] = humedad;
	        // Read Input: distancia
	        g_fisInput[1] = distance;

	        g_fisOutput[0] = 0;

	        fis_evaluate();

	        // Set output value: activar
	        __HAL_TIM_SET_COMPARE(&htim3, TIM_CHANNEL_1, (uint32_t)g_fisOutput[0]);
	        HAL_GPIO_WritePin(MOTOR_1_GPIO_Port, MOTOR_1_Pin, GPIO_PIN_SET);
	        HAL_GPIO_WritePin(MOTOR_2_GPIO_Port, MOTOR_2_Pin, GPIO_PIN_RESET);

	        HAL_Delay(1000); // Retardo de 1 segundo

}

void imprimirSerial(uint32_t impresion1, uint32_t impresion, uint32_t impresion2) {
    char dato[50] = "";

    sprintf(dato, "humedad= %lu \r\n", impresion1);
    HAL_UART_Transmit(&huart2, (uint8_t*) dato, strlen(dato), 1000);

    sprintf(dato, "Distancia= %lu cm\r\n", impresion);
    HAL_UART_Transmit(&huart2, (uint8_t*) dato, strlen(dato), 1000);

    sprintf(dato, "Salida= %lu \r\n", impresion2);
    HAL_UART_Transmit(&huart2, (uint8_t*) dato, strlen(dato), 1000);

}

void Serial(void){
	imprimirSerial(humedad, distance, g_fisOutput[0]);
}

void Error(void){
if(distance > 12){
	HAL_GPIO_WritePin(GPIOD, GPIO_PIN_14, GPIO_PIN_SET);
}

}

/* USER CODE END 4 */

void Error_Handler(void)
{
  __disable_irq();
  while (1)
  {
  }
}
